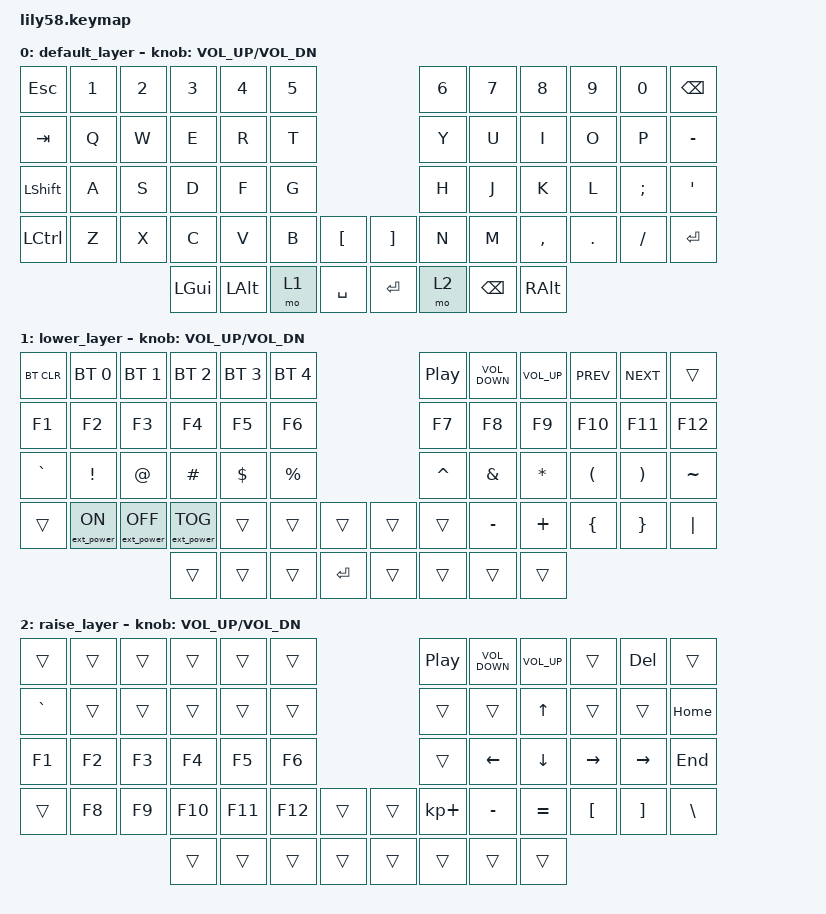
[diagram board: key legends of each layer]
/*
 * Copyright (c) 2020 The ZMK Contributors
 *
 * SPDX-License-Identifier: MIT
 */

#include <behaviors.dtsi>
#include <dt-bindings/zmk/bt.h>
#include <dt-bindings/zmk/ext_power.h>
#include <dt-bindings/zmk/keys.h>

/ {
    keymap {
        compatible = "zmk,keymap";

        default_layer {
            // ------------------------------------------------------------------------------------------------------------
            // |  ESC  |  1  |  2  |  3   |  4   |  5   |                   |  6   |  7    |  8    |  9   |   0   |   `   |
            // |  TAB  |  Q  |  W  |  E   |  R   |  T   |                   |  Y   |  U    |  I    |  O   |   P   |   -   |
            // |  CTRL |  A  |  S  |  D   |  F   |  G   |                   |  H   |  J    |  K    |  L   |   ;   |   '   |
            // | SHIFT |  Z  |  X  |  C   |  V   |  B   |   "["  |  |  "]"  |  N   |  M    |  ,    |  .   |   /   | SHIFT |
            //                     | ALT  | GUI  | LOWER|  SPACE |  | ENTER | RAISE| BSPC  | GUI   |

            bindings = <
&kp ESC           &kp N1  &kp N2  &kp N3    &kp N4    &kp N5                         &kp N6  &kp N7    &kp N8         &kp N9   &kp N0    &kp BACKSPACE
&kp TAB           &kp Q   &kp W   &kp E     &kp R     &kp T                          &kp Y   &kp U     &kp I          &kp O    &kp P     &kp MINUS
&kp LSHIFT        &kp A   &kp S   &kp D     &kp F     &kp G                          &kp H   &kp J     &kp K          &kp L    &kp SEMI  &kp SQT
&kp LEFT_CONTROL  &kp Z   &kp X   &kp C     &kp V     &kp B   &kp LBKT     &kp RBKT  &kp N   &kp M     &kp COMMA      &kp DOT  &kp FSLH  &kp ENTER
                                  &kp LGUI  &kp LALT  &mo 1   &kp SPACE    &kp RET   &mo 2   &kp BSPC  &kp RIGHT_ALT
            >;

            sensor-bindings = <&inc_dec_kp C_VOL_UP C_VOL_DN>;
        };

        lower_layer {
            // ------------------------------------------------------------------------------------------------------------
            // | BTCLR | BT1 | BT2 |  BT3 |  BT4 |  BT5 |                   |      |       |       |      |       |       |
            // |  F1   |  F2 |  F3 |  F4  |  F5  |  F6  |                   |  F7  |  F8   |  F9   |  F10 |  F11  |  F12  |
            // |   `   |  !  |  @  |  #   |  $   |  %   |                   |  ^   |  &    |  *    |  (   |   )   |   ~   |
            // |       |     |     |      |      |      |        |  |       |      |  _    |  +    |  {   |   }   |  "|"  |
            //                     |      |      |      |        |  |       |      |       |       |

            bindings = <
&bt BT_CLR  &bt BT_SEL 0      &bt BT_SEL 1       &bt BT_SEL 2       &bt BT_SEL 3  &bt BT_SEL 4                       &kp C_PLAY_PAUSE  &kp C_VOLUME_DOWN  &kp C_VOLUME_UP  &kp C_PREV  &kp C_NEXT  &trans
&kp F1      &kp F2            &kp F3             &kp F4             &kp F5        &kp F6                             &kp F7            &kp F8             &kp F9           &kp F10     &kp F11     &kp F12
&kp GRAVE   &kp EXCL          &kp AT             &kp HASH           &kp DOLLAR    &kp PRCNT                          &kp CARET         &kp AMPS           &kp ASTRK        &kp LPAR    &kp RPAR    &kp TILDE
&trans      &ext_power EP_ON  &ext_power EP_OFF  &ext_power EP_TOG  &trans        &trans        &trans       &trans  &trans            &kp MINUS          &kp PLUS         &kp LBRC    &kp RBRC    &kp PIPE
                                                 &trans             &trans        &trans        &kp ENTER    &trans  &trans            &trans             &trans
            >;

            sensor-bindings = <&inc_dec_kp C_VOL_UP C_VOL_DN>;
        };

        raise_layer {
            // ------------------------------------------------------------------------------------------------------------
            // |       |     |     |      |      |      |                   |      |       |       |      |       |       |
            // |   `   |  1  |  2  |  3   |  4   |  5   |                   |  6   |   7   |   8   |  9   |   0   |       |
            // |   F1  |  F2 |  F3 |  F4  |  F5  |  F6  |                   |      |   <-  |   v   |  ^   |  ->   |       |
            // |   F7  |  F8 |  F9 |  F10 |  F11 |  F12 |        |  |       |  +   |   -   |   =   |  [   |   ]   |   \   |
            //                     |      |      |      |        |  |       |      |       |       |

            bindings = <
&trans     &trans  &trans  &trans   &trans   &trans                     &kp C_PLAY_PAUSE  &kp C_VOLUME_DOWN  &kp C_VOLUME_UP  &trans     &kp DEL    &trans
&kp GRAVE  &trans  &trans  &trans   &trans   &trans                     &trans            &trans             &kp UP_ARROW     &trans     &trans     &kp HOME
&kp F1     &kp F2  &kp F3  &kp F4   &kp F5   &kp F6                     &trans            &kp LEFT           &kp DOWN         &kp RIGHT  &kp RIGHT  &kp END
&trans     &kp F8  &kp F9  &kp F10  &kp F11  &kp F12  &trans    &trans  &kp KP_PLUS       &kp MINUS          &kp EQUAL        &kp LBKT   &kp RBKT   &kp BSLH
                           &trans   &trans   &trans   &trans    &trans  &trans            &trans             &trans
            >;

            sensor-bindings = <&inc_dec_kp C_VOL_UP C_VOL_DN>;
        };
    };
};
